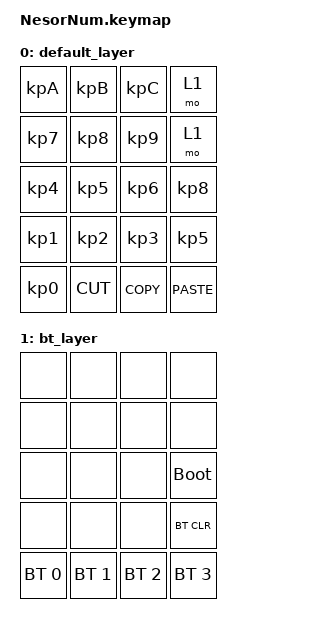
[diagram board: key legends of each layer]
#include <behaviors.dtsi>
#include <dt-bindings/zmk/keys.h>
#include <dt-bindings/zmk/bt.h>
#define URL_1 "https://bhs-vic.compass.education/"

#
/ 
{
    keymap 
    {
        compatible = "zmk,keymap";

        default_layer 
        {
            bindings = <
            &kp KP_A     &kp KP_B     &kp KP_C        &mo 1
            &kp KP_N7    &kp KP_N8    &kp KP_N9        &mo 1
            &kp KP_N4    &kp KP_N5    &kp KP_N6    &kp KP_N8
            &kp KP_N1    &kp KP_N2    &kp KP_N3    &kp KP_N5
            &kp KP_N0    &kp K_CUT    &kp K_COPY    &kp K_PASTE
            >;
        };

        bt_layer
        {
            bindings = 
            <
                &none           &none           &none           &none
                &none           &none           &none           &none
                &none           &none           &none           &bootloader
                &none           &none           &none           &bt BT_CLR
                &bt BT_SEL 0    &bt BT_SEL 1    &bt BT_SEL 2    &bt BT_SEL 3
            >;
        };
    };
};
